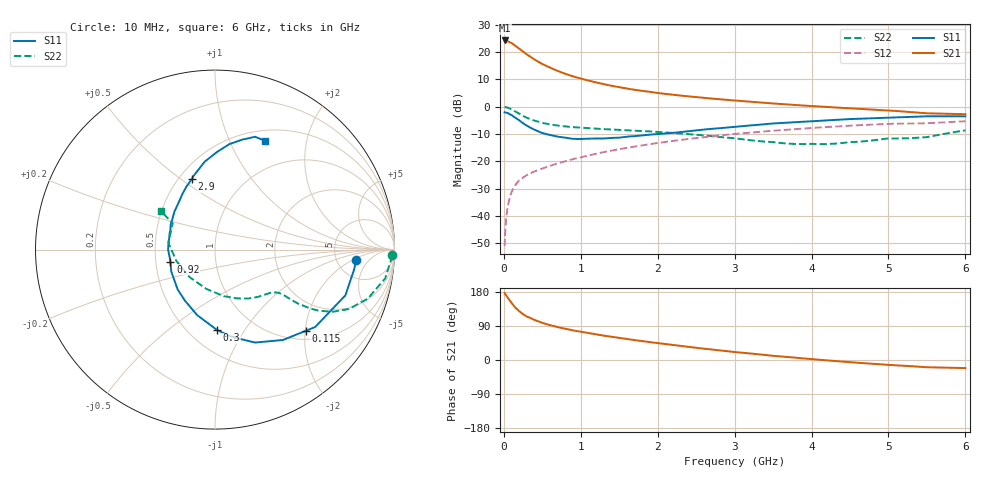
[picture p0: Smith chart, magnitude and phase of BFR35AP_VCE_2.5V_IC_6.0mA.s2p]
! Infineon Technologies  Discrete & RF Semiconductors
! BFR35AP
! VCE =  2.5 V,  IC =  6.0 mA
! Common Emitter S-Parameters:  Nov 2015
# GHz  S  MA  R  50
!  f  S11  S21  S12  S22
! GHz  MAG  ANG  MAG  ANG  MAG  ANG  MAG  ANG
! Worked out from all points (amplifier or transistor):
!   210 points, 10 MHz to 6 GHz, reference 50 ohm
!   highest |S21| = 24.2 dB at 10 MHz (marker M1)
!   |S21| within 3 dB of that: start of sweep to 200.8 MHz
!   unconditionally stable (mu >= 1): 715.3 MHz to 3.791 GHz
!   at 185 MHz: K = 0.42, MSG = 24.5 dB, |S12| = -27.4 dB
!   at 1.52 GHz: K = 1.13, MAG = 9.1 dB, |S12| = -15.5 dB
!   at 6 GHz: K = 0.98, MSG = 1.3 dB, |S12| = -5.3 dB
!   S11 on the Smith chart (normalised r, x): 10 MHz: 7.70, -2.41; 115 MHz: 1.20, -2.01; 300 MHz: 0.68, -0.76; 920 MHz: 0.60, -0.09; 2.9 GHz: 0.58, +0.55; 6 GHz: 0.63, +1.37
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0.01  0.7887 -4.3  16.31 176.8  0.0028 87.7  0.9887 -1.9
0.025  0.7791 -9.8  16.03 171.8  0.0072 83.4  0.9764 -4.8
0.05  0.77 -19.3  15.79 164.4  0.0147 79.8  0.9618 -9.6
0.1  0.7053 -37.7  14.69 150.3  0.0273 72.3  0.8949 -17.7
0.115  0.6779 -41.9  14.12 146.9  0.0302 69.7  0.8704 -19.4
0.15  0.6303 -53.0  13.01 138.0  0.0371 65.3  0.8166 -23.9
0.2  0.5644 -66.6  11.57 128.6  0.0448 61.6  0.744 -27.7
0.26  0.4863 -80.6  9.96 119.5  0.0518 58.5  0.667 -30.6
0.3  0.4489 -88.4  9.029 114.5  0.0561 57.8  0.626 -31.7
0.4  0.3785 -105.2  7.276 105.5  0.0655 56.3  0.5542 -33.0
0.5  0.3303 -120.4  6.033 97.8  0.0737 56.8  0.5054 -33.4
0.6  0.3045 -133.1  5.172 91.9  0.0826 57.1  0.473 -33.4
0.7  0.2829 -143.7  4.51 86.7  0.0915 57.8  0.4509 -33.7
0.92  0.2574 -165.0  3.515 77.4  0.1117 58.3  0.4204 -34.7
1.02  0.2571 -173.7  3.212 73.7  0.1206 58.6  0.4114 -35.4
1.4  0.2685 160.5  2.413 61.3  0.1568 57.7  0.3833 -40.0
2.02  0.3169 133.2  1.77 44.1  0.2187 53.5  0.3431 -51.1
2.9  0.4152 108.0  1.335 23.3  0.3072 44.5  0.2715 -75.3
3.1  0.4401 104.0  1.266 19.2  0.326 41.9  0.2534 -83.1
4.1  0.5528 87.5  1.008 0.6  0.4164 29.3  0.2068 -139.2
5.1  0.6372 75.0  0.835 -14.0  0.4873 15.3  0.2621 166.7
6  0.6668 65.2  0.729 -21.4  0.5417 5.1  0.369 144.6
